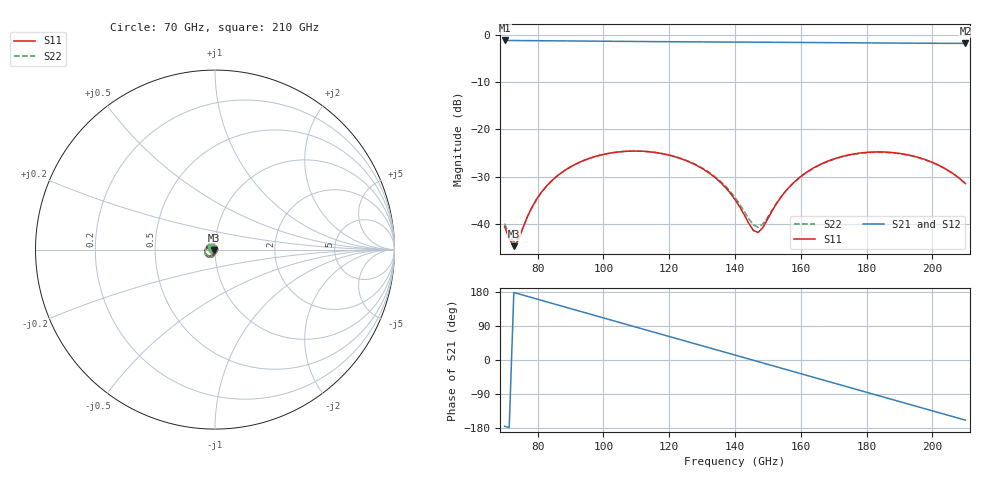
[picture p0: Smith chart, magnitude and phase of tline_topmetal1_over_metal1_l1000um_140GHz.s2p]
#  GHZ S DB R 50
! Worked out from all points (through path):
!   101 points, 70 GHz to 210 GHz, reference 50 ohm
!   highest |S21| = -1.20 dB at 70 GHz (marker M1); lowest = -1.8 dB at 210 GHz (marker M2)
!   group delay of S21, straight-line fit = 6.82 ps
!   lowest |S11| = -44.7 dB at 72.8 GHz (marker M3), VSWR 1.01, Z = 49.5 - j0.326 ohm
!   |S11| at or under -10 dB: start of sweep to end of sweep
!   |S22| runs from -43.8 to -24.5 dB; largest |S21 - S12| = 1.5e-13
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70  -40.48 171.5  -1.20 -175.0  -1.20 -175.0  -39.90 172.6
72.8  -44.65 -145.7  -1.21 178.1  -1.21 178.1  -43.82 -148.9
74.2  -43.35 -117.3  -1.22 174.7  -1.22 174.7  -42.93 -122.1
77  -38.32 -94.3  -1.24 167.8  -1.24 167.8  -38.32 -97.4
81.2  -33.25 -92.1  -1.26 157.4  -1.26 157.4  -33.30 -93.8
86.8  -29.37 -101.0  -1.29 143.6  -1.29 143.6  -29.41 -102.0
93.8  -26.62 -116.1  -1.32 126.4  -1.32 126.4  -26.64 -116.7
100.8  -25.16 -132.4  -1.36 109.2  -1.36 109.2  -25.16 -132.8
106.4  -24.64 -145.6  -1.40 95.4  -1.40 95.4  -24.63 -145.9
117.6  -25.08 -171.5  -1.45 67.9  -1.45 67.9  -25.04 -171.5
130.2  -28.32 162.1  -1.51 37.1  -1.51 37.1  -28.21 162.7
135.8  -31.32 153.8  -1.53 23.3  -1.53 23.3  -31.10 155.0
140  -34.80 152.9  -1.54 13.0  -1.54 13.0  -34.38 154.5
145.6  -41.35 -175.5  -1.57 -0.7  -1.57 -0.7  -40.18 -176.9
147  -41.77 -155.2  -1.57 -4.2  -1.57 -4.2  -40.66 -159.8
148.4  -40.79 -136.5  -1.58 -7.6  -1.58 -7.6  -40.04 -143.0
155.4  -33.00 -111.6  -1.60 -24.8  -1.60 -24.8  -33.04 -115.7
163.8  -28.15 -122.0  -1.64 -45.5  -1.64 -45.5  -28.23 -124.6
176.4  -25.14 -147.2  -1.70 -76.4  -1.70 -76.4  -25.22 -149.1
187.6  -24.87 -170.9  -1.75 -103.8  -1.75 -103.8  -24.93 -172.7
200.2  -27.02 164.1  -1.79 -134.7  -1.79 -134.7  -27.07 162.4
210  -31.43 151.3  -1.82 -158.7  -1.82 -158.7  -31.43 149.7
